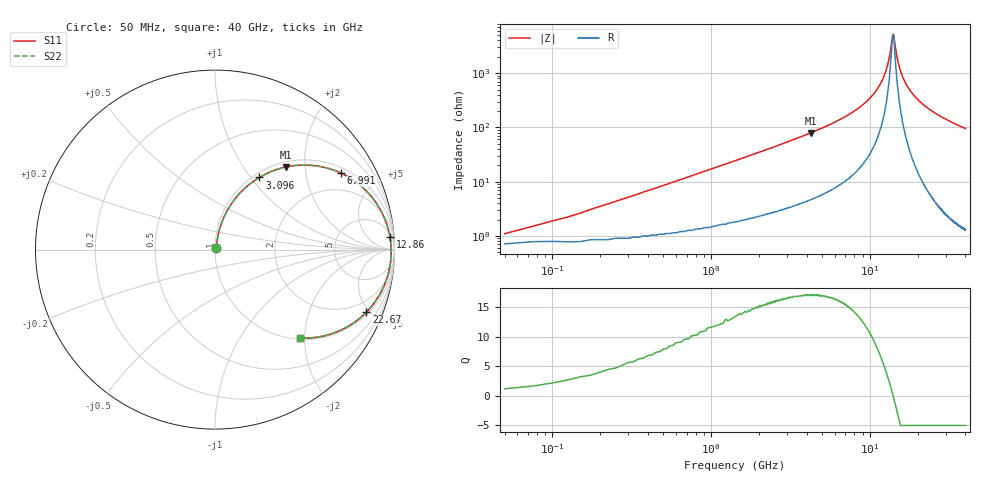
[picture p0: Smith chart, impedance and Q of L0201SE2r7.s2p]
# MHZ S MA R 50
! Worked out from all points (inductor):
!   1601 points, 50 MHz to 40 GHz, reference 50 ohm
!   read as one part in series: L = 2.7 nH near 249.8 MHz
!   highest Q = 17 at 4.245 GHz (marker M1), where L = 2.97 nH
!   self-resonance near 14.03 GHz
!   S11 on the Smith chart (normalised r, x): 50 MHz: 1.01, +0.02; 3.096 GHz: 1.07, +1.10; 6.991 GHz: 1.21, +3.15; 12.86 GHz: 8, +25; 22.67 GHz: 1.15, -4.77; 40 GHz: 1.03, -1.91
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50  0.011 48.5  0.993 -0.5  0.993 -0.5  0.011 48.5
424.531  0.072 77.8  0.987 -4.1  0.987 -4.1  0.072 77.8
898.938  0.15 76.2  0.975 -8.6  0.975 -8.6  0.15 76.2
1772.844  0.287 69.4  0.938 -16.7  0.938 -16.7  0.287 69.4
3096.188  0.472 58.4  0.854 -28.1  0.854 -28.1  0.472 58.4
4244.75  0.605 49.5  0.762 -37.1  0.762 -37.1  0.605 49.5
6716.656  0.805 32.9  0.544 -53.5  0.544 -53.5  0.805 32.9
6991.313  0.821 31.3  0.52 -55.0  0.52 -55.0  0.821 31.3
10711.66  0.952 12.6  0.219 -71.1  0.219 -71.1  0.952 12.6
11985.06  0.97 7.4  0.13 -73.0  0.13 -73.0  0.97 7.4
12858.97  0.977 4.1  0.074 -70.0  0.074 -70.0  0.977 4.1
13383.31  0.98 2.2  0.043 -60.9  0.043 -60.9  0.98 2.2
13832.75  0.981 0.7  0.022 -30.4  0.022 -30.4  0.981 0.7
14057.47  0.981 -0.1  0.019 5.6  0.019 5.6  0.981 -0.1
15056.22  0.981 -3.3  0.061 70.0  0.061 70.0  0.981 -3.3
16104.91  0.977 -6.5  0.115 75.3  0.115 75.3  0.977 -6.5
17702.91  0.967 -11.0  0.191 74.6  0.191 74.6  0.967 -11.0
20025  0.944 -16.7  0.288 70.6  0.288 70.6  0.944 -16.7
22671.69  0.912 -22.4  0.382 65.8  0.382 65.8  0.912 -22.4
26691.66  0.858 -29.7  0.496 59.1  0.496 59.1  0.858 -29.7
33358.31  0.767 -39.0  0.63 50.1  0.63 50.1  0.767 -39.0
40000  0.685 -46.0  0.719 43.3  0.719 43.3  0.685 -46.0
